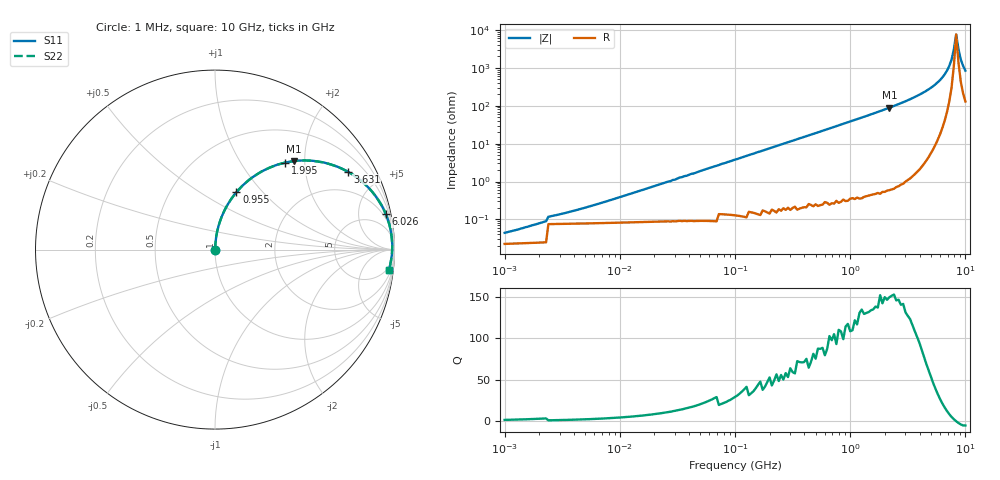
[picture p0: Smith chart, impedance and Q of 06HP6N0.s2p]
# MHz S MA R 50
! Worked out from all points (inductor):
!   201 points, 1 MHz to 10 GHz, reference 50 ohm
!   read as one part in series: L = 5.99 nH near 1.995 MHz
!   highest Q = 150 at 2.188 GHz (marker M1), where L = 6.45 nH
!   self-resonance near 8.318 GHz
!   S11 on the Smith chart (normalised r, x): 1 MHz: 1.00, +0.00; 955 MHz: 1.01, +0.73; 1.995 GHz: 1.01, +1.60; 3.631 GHz: 1.03, +3.38; 6.026 GHz: 1.33, +9.54; 10 GHz: 4, -17
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1  0.0005875 39.9  1 -0.0  1 -0.0  0.0005875 39.9
1.995  0.0008965 57.0  1 -0.0  1 -0.0  0.0008965 57.0
4.786  0.001888 72.7  0.999 -0.1  0.999 -0.1  0.001888 72.7
21.878  0.008278 84.1  0.999 -0.5  0.999 -0.5  0.008278 84.1
104.713  0.039 85.9  0.998 -2.3  0.998 -2.3  0.039 85.9
251.189  0.094 83.5  0.994 -5.4  0.994 -5.4  0.094 83.5
478.63  0.178 79.0  0.982 -10.2  0.982 -10.2  0.178 79.0
954.993  0.342 69.5  0.937 -20.0  0.937 -20.0  0.342 69.5
1380.384  0.47 61.5  0.879 -28.1  0.879 -28.1  0.47 61.5
1995.262  0.622 51.2  0.779 -38.4  0.779 -38.4  0.622 51.2
2187.762  0.661 48.2  0.746 -41.4  0.746 -41.4  0.661 48.2
2884.032  0.775 38.8  0.627 -50.8  0.627 -50.8  0.775 38.8
3630.781  0.857 30.5  0.507 -59.0  0.507 -59.0  0.857 30.5
4786.301  0.933 20.2  0.346 -68.8  0.346 -68.8  0.933 20.2
6025.596  0.972 11.7  0.204 -76.1  0.204 -76.1  0.972 11.7
6918.31  0.984 6.7  0.117 -78.7  0.117 -78.7  0.984 6.7
7585.776  0.987 3.4  0.06 -76.0  0.06 -76.0  0.987 3.4
7943.282  0.988 1.7  0.032 -66.4  0.032 -66.4  0.988 1.7
8317.638  0.987 0.0  0.013 -2.5  0.013 -2.5  0.987 0.0
8709.636  0.986 -1.6  0.032 62.2  0.032 62.2  0.986 -1.6
9120.108  0.983 -3.3  0.059 71.9  0.059 71.9  0.983 -3.3
10000  0.976 -6.6  0.116 74.6  0.116 74.6  0.976 -6.6
